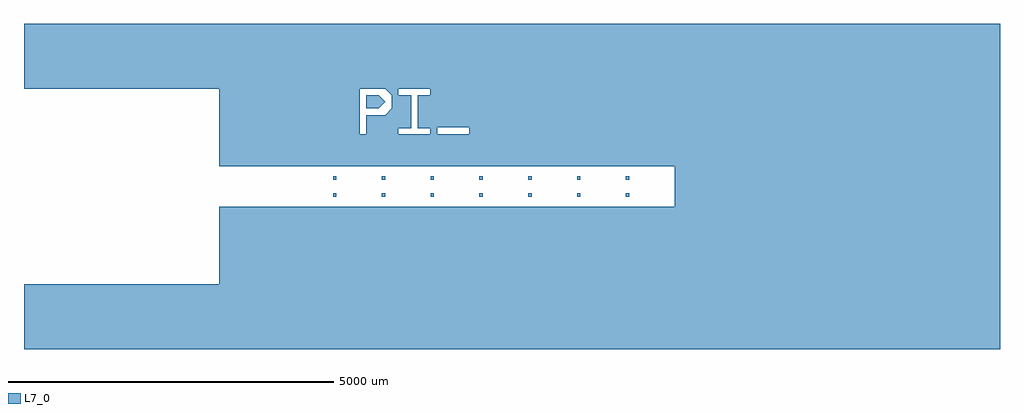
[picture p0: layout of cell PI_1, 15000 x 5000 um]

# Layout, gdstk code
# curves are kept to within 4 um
import gdstk
lib = gdstk.Library(unit=1e-6, precision=5e-09)
def R(c, l, rs):  # rectangles x0, y0, x1, y1
    for r in rs: c.add(gdstk.rectangle(r[:2], r[2:], *l))
def A(c, l, x, y, w, h, nx, ny, dx, dy):  # array of equal rectangles
    R(c, l, [(x+i*dx, y+j*dy, x+i*dx+w, y+j*dy+h) for i in range(nx) for j in range(ny)])
def P(c, l, *ps):  # polygons
    for p in ps: c.add(gdstk.Polygon(p, *l))
L7_0 = (7, 0)

pi_1 = lib.new_cell('PI_1')
A(pi_1, L7_0, 4750, 2345, 50, 50, 7, 2, 750, 260)
P(pi_1, L7_0, [(6245,3300),(6350,3300),(3000,2815),(3000,4000),(0,4000),(0,5000),(15000,5000),(15000,0),(0,0),(0,1000),(3000,1000),(3000,2185),(10000,2185),(10000,2815),(3000,2815),(6350,3300),(6840,3300),(6840,3412),(6350,3412),(6350,3300),(5258,3300),(5258,3594),(5552,3594),(5650,3706),(5650,3902),(5552,4000),(5160,4000),(5160,3300),(6350,3300),(6245,3300),(6245,3398),(6049,3398),(6049,3902),(6245,3902),(6245,4000),(5755,4000),(5755,3902),(5951,3902),(5951,3398),(5755,3398),(5755,3300)],
  [(5258,3706),(5258,3902),(5454,3902),(5552,3804),(5454,3706)])

lib.write_gds('PI_1.gds')
